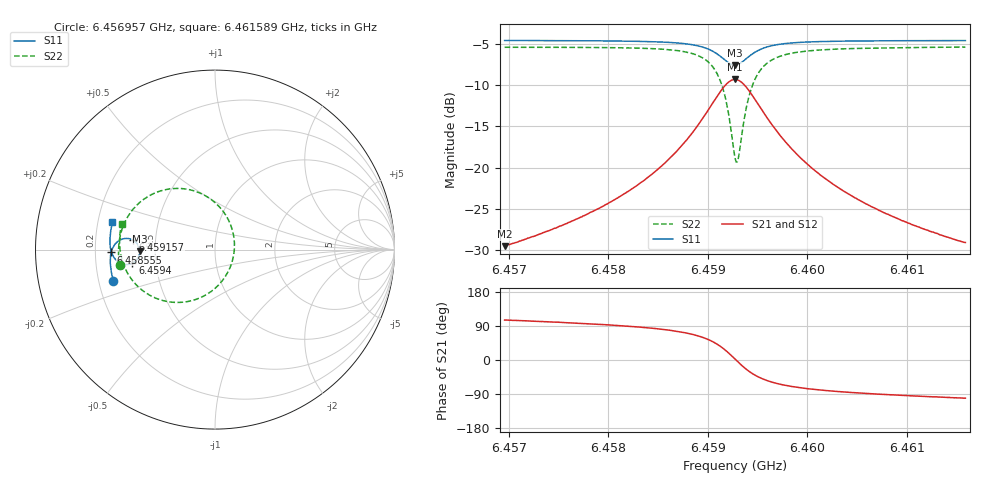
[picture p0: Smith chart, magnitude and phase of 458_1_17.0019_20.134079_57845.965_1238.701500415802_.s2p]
#  HZ  S  RI  R  50.00
! Rohde & Schwarz Vector Network Analyzer
! Rohde-Schwarz,ZNB20-2Port,1311601062101988,3.16
! Created: UTC 3/20/2024, 11:12:38 PM
! freq[Hz]  re:S11  im:S11  re:S21  im:S21  re:S12  im:S12  re:S22  im:S22
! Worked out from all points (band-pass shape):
!   401 points, 6.456957 GHz to 6.461589 GHz, reference 50 ohm
!   highest |S21| = -9.29 dB at 6.459273 GHz (marker M1); lowest = -29.6 dB at 6.456957 GHz (marker M2)
!   |S21| within 3 dB of the highest: 6.459042 GHz to 6.459505 GHz (463.1 kHz wide, 0.00717 % of centre)
!   lowest |S11| = -7.5 dB at 6.459273 GHz (marker M3), VSWR 2.45, Z = 20.4 - j0.508 ohm
!   |S11| at or under -10 dB: nowhere
!   |S22| runs from -19.3 to -5.4 dB; largest |S21 - S12| = 0.013
!   S11 on the Smith chart (normalised r, x): 6.456957 GHz: 0.26, -0.14; 6.458555 GHz: 0.27, -0.01; 6.459157 GHz: 0.37, +0.05; 6.4594 GHz: 0.37, -0.07; 6.461589 GHz: 0.26, +0.12
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6.4569566e9  -0.5662 -0.1737  -0.00887 0.0321  -0.00727 0.0322  -0.5314 -0.0866
6.4577325e9  -0.5805 -0.106  -0.00565 0.0498  -0.00319 0.0494  -0.5372 0.00354
6.4581957e9  -0.5836 -0.0596  0.00096 0.0715  0.00437 0.0701  -0.528 0.0774
6.4585084e9  -0.5799 -0.0219  0.0139 0.098  0.0178 0.0953  -0.5044 0.1486
6.4585547e9  -0.5786 -0.0157  0.0173 0.1034  0.0212 0.1004  -0.4981 0.1618
6.4587632e9  -0.5663 0.0161  0.0433 0.1349  0.0473 0.1302  -0.4495 0.2331
6.4589137e9  -0.5452 0.0423  0.0855 0.165  0.0888 0.1586  -0.3714 0.2969
6.4590643e9  -0.4994 0.0621  0.1767 0.1839  0.1777 0.1767  -0.2045 0.341
6.4591569e9  -0.4552 0.0521  0.2661 0.1532  0.2663 0.1474  -0.0393 0.2915
6.4592032e9  -0.4342 0.0335  0.3096 0.1109  0.3107 0.1057  0.0433 0.2162
6.4592727e9  -0.4194 -0.0102  0.3429 0.0148  0.3462 0.00781  0.1083 0.0377
6.4592843e9  -0.4197 -0.0183  0.3425 -0.00282  0.3464 -0.0104  0.108 0.00424
6.4593075e9  -0.4232 -0.0337  0.3372 -0.0373  0.341 -0.0463  0.0972 -0.061
6.4593538e9  -0.4386 -0.0597  0.3089 -0.0969  0.3111 -0.1088  0.0405 -0.1736
6.4594001e9  -0.4604 -0.0757  0.2673 -0.1378  0.2664 -0.1508  -0.0438 -0.2482
6.4594927e9  -0.5035 -0.0825  0.1832 -0.169  0.177 -0.1804  -0.2116 -0.2945
6.4596433e9  -0.547 -0.0621  0.0957 -0.1554  0.0873 -0.1615  -0.3782 -0.2456
6.4598054e9  -0.5685 -0.0343  0.051 -0.1277  0.0436 -0.1306  -0.4583 -0.174
6.4600486e9  -0.5811 0.0011  0.0221 -0.0965  0.0165 -0.0971  -0.5061 -0.0921
6.460396e9  -0.5855 0.0423  0.00626 -0.07  0.00205 -0.0694  -0.5274 -0.0132
6.4608245e9  -0.5836 0.0852  -0.00147 -0.0515  -0.00425 -0.0505  -0.5314 0.0551
6.4615889e9  -0.5711 0.1528  -0.00652 -0.0344  -0.00821 -0.0334  -0.5203 0.1448
